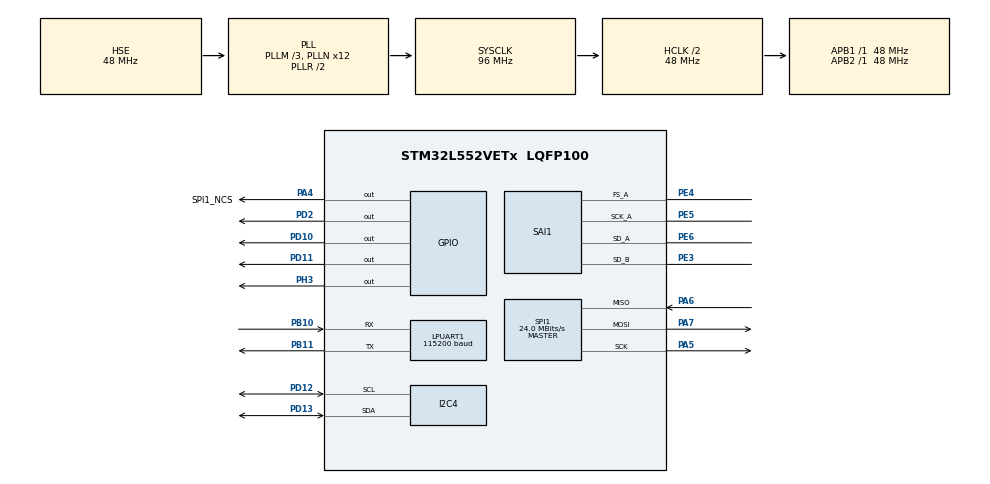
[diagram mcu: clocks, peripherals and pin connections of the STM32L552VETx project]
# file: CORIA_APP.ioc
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Dma.LPUART1_RX.1.Channel_PRIV_NPRIV=DMA_CHANNEL_NPRIV_DISABLE
Dma.LPUART1_RX.1.Direction=DMA_PERIPH_TO_MEMORY
Dma.LPUART1_RX.1.EventEnable=DISABLE
Dma.LPUART1_RX.1.Instance=DMA1_Channel2
Dma.LPUART1_RX.1.MemDataAlignment=DMA_MDATAALIGN_BYTE
Dma.LPUART1_RX.1.MemInc=DMA_MINC_ENABLE
Dma.LPUART1_RX.1.Mode=DMA_NORMAL
Dma.LPUART1_RX.1.PeriphDataAlignment=DMA_PDATAALIGN_BYTE
Dma.LPUART1_RX.1.PeriphInc=DMA_PINC_DISABLE
Dma.LPUART1_RX.1.Polarity=HAL_DMAMUX_REQ_GEN_RISING
Dma.LPUART1_RX.1.Priority=DMA_PRIORITY_MEDIUM
Dma.LPUART1_RX.1.RequestNumber=1
Dma.LPUART1_RX.1.SignalID=NONE
Dma.LPUART1_RX.1.SyncEnable=DISABLE
Dma.LPUART1_RX.1.SyncPolarity=HAL_DMAMUX_SYNC_NO_EVENT
Dma.LPUART1_RX.1.SyncRequestNumber=1
Dma.LPUART1_RX.1.SyncSignalID=NONE
Dma.LPUART1_TX.0.Channel_PRIV_NPRIV=DMA_CHANNEL_NPRIV_DISABLE
Dma.LPUART1_TX.0.Direction=DMA_MEMORY_TO_PERIPH
Dma.LPUART1_TX.0.EventEnable=DISABLE
Dma.LPUART1_TX.0.Instance=DMA1_Channel1
Dma.LPUART1_TX.0.MemDataAlignment=DMA_MDATAALIGN_BYTE
Dma.LPUART1_TX.0.MemInc=DMA_MINC_ENABLE
Dma.LPUART1_TX.0.Mode=DMA_NORMAL
Dma.LPUART1_TX.0.PeriphDataAlignment=DMA_PDATAALIGN_BYTE
Dma.LPUART1_TX.0.PeriphInc=DMA_PINC_DISABLE
Dma.LPUART1_TX.0.Polarity=HAL_DMAMUX_REQ_GEN_RISING
Dma.LPUART1_TX.0.Priority=DMA_PRIORITY_MEDIUM
Dma.LPUART1_TX.0.RequestNumber=1
Dma.LPUART1_TX.0.SignalID=NONE
Dma.LPUART1_TX.0.SyncEnable=DISABLE
Dma.LPUART1_TX.0.SyncPolarity=HAL_DMAMUX_SYNC_NO_EVENT
Dma.LPUART1_TX.0.SyncRequestNumber=1
Dma.LPUART1_TX.0.SyncSignalID=NONE
Dma.Request0=LPUART1_TX
Dma.Request1=LPUART1_RX
Dma.Request2=SAI1_A
Dma.Request3=SAI1_B
Dma.SAI1_A.2.Channel_PRIV_NPRIV=DMA_CHANNEL_NPRIV_DISABLE
Dma.SAI1_A.2.Direction=DMA_MEMORY_TO_PERIPH
Dma.SAI1_A.2.EventEnable=DISABLE
Dma.SAI1_A.2.Instance=DMA1_Channel3
Dma.SAI1_A.2.MemDataAlignment=DMA_MDATAALIGN_HALFWORD
Dma.SAI1_A.2.MemInc=DMA_MINC_ENABLE
Dma.SAI1_A.2.Mode=DMA_CIRCULAR
Dma.SAI1_A.2.PeriphDataAlignment=DMA_PDATAALIGN_HALFWORD
Dma.SAI1_A.2.PeriphInc=DMA_PINC_DISABLE
Dma.SAI1_A.2.Polarity=HAL_DMAMUX_REQ_GEN_RISING
Dma.SAI1_A.2.Priority=DMA_PRIORITY_LOW
Dma.SAI1_A.2.RequestNumber=1
Dma.SAI1_A.2.SignalID=NONE
Dma.SAI1_A.2.SyncEnable=DISABLE
Dma.SAI1_A.2.SyncPolarity=HAL_DMAMUX_SYNC_NO_EVENT
Dma.SAI1_A.2.SyncRequestNumber=1
Dma.SAI1_A.2.SyncSignalID=NONE
Dma.SAI1_B.3.Channel_PRIV_NPRIV=DMA_CHANNEL_NPRIV_DISABLE
Dma.SAI1_B.3.Direction=DMA_PERIPH_TO_MEMORY
Dma.SAI1_B.3.EventEnable=DISABLE
Dma.SAI1_B.3.Instance=DMA1_Channel4
Dma.SAI1_B.3.MemDataAlignment=DMA_MDATAALIGN_HALFWORD
Dma.SAI1_B.3.MemInc=DMA_MINC_ENABLE
Dma.SAI1_B.3.Mode=DMA_CIRCULAR
Dma.SAI1_B.3.PeriphDataAlignment=DMA_PDATAALIGN_HALFWORD
Dma.SAI1_B.3.PeriphInc=DMA_PINC_DISABLE
Dma.SAI1_B.3.Polarity=HAL_DMAMUX_REQ_GEN_RISING
Dma.SAI1_B.3.Priority=DMA_PRIORITY_MEDIUM
Dma.SAI1_B.3.RequestNumber=1
Dma.SAI1_B.3.SignalID=NONE
Dma.SAI1_B.3.SyncEnable=DISABLE
Dma.SAI1_B.3.SyncPolarity=HAL_DMAMUX_SYNC_NO_EVENT
Dma.SAI1_B.3.SyncRequestNumber=1
Dma.SAI1_B.3.SyncSignalID=NONE
I2C4.Timing=0x20303E5D
LPUART1.BaudRate=115200
LPUART1.WordLength=UART_WORDLENGTH_8B
Mcu.Family=STM32L5
Mcu.Name=STM32L552VETx
Mcu.Package=LQFP100
NVIC.DMA1_Channel1_IRQn=true\:0\:0\:false\:false\:true\:false\:true\:true
NVIC.DMA1_Channel2_IRQn=true\:5\:0\:true\:false\:true\:false\:true\:true
NVIC.DMA1_Channel3_IRQn=true\:0\:0\:false\:false\:true\:false\:true\:true
NVIC.DMA1_Channel4_IRQn=true\:0\:0\:false\:false\:true\:false\:true\:true
NVIC.LPUART1_IRQn=true\:5\:0\:true\:false\:true\:true\:true\:true
NVIC.PriorityGroup=NVIC_PRIORITYGROUP_3
NVIC.TIM1_UP_IRQn=true\:7\:0\:false\:false\:true\:false\:true\:true
NVIC.TimeBase=TIM1_UP_IRQn
NVIC.TimeBaseIP=TIM1
PA4.GPIO_Label=SPI1_NCS
PA4.PinState=GPIO_PIN_SET
PA4.Signal=GPIO_Output
PA5.Mode=Full_Duplex_Master
PA5.Signal=SPI1_SCK
PA6.Mode=Full_Duplex_Master
PA6.Signal=SPI1_MISO
PA7.Mode=Full_Duplex_Master
PA7.Signal=SPI1_MOSI
PB10.Mode=Asynchronous
PB10.Signal=LPUART1_RX
PB11.Mode=Asynchronous
PB11.Signal=LPUART1_TX
PC14-OSC32_IN\ (PC14).Mode=LSE-External-Oscillator
PC14-OSC32_IN\ (PC14).Signal=RCC_OSC32_IN
PC15-OSC32_OUT\ (PC15).Mode=LSE-External-Oscillator
PC15-OSC32_OUT\ (PC15).Signal=RCC_OSC32_OUT
PD10.PinState=GPIO_PIN_RESET
PD10.Signal=GPIO_Output
PD11.PinState=GPIO_PIN_RESET
PD11.Signal=GPIO_Output
PD12.Mode=I2C
PD12.Signal=I2C4_SCL
PD13.Mode=I2C
PD13.Signal=I2C4_SDA
PD2.Signal=GPIO_Output
PE3.Mode=SAI_B_SyncSlave
PE3.Signal=SAI1_SD_B
PE4.Mode=SAI_A_Master
PE4.Signal=SAI1_FS_A
PE5.Mode=SAI_A_Master
PE5.Signal=SAI1_SCK_A
PE6.Mode=SAI_A_Master
PE6.Signal=SAI1_SD_A
PH0-OSC_IN\ (PH0).Mode=HSE-External-Oscillator
PH0-OSC_IN\ (PH0).Signal=RCC_OSC_IN
PH1-OSC_OUT\ (PH1).Mode=HSE-External-Oscillator
PH1-OSC_OUT\ (PH1).Signal=RCC_OSC_OUT
PH3-BOOT0.GPIO_PuPd=GPIO_PULLDOWN
PH3-BOOT0.Signal=GPIO_Output
ProjectManager.HeapSize=0x200
ProjectManager.StackSize=0x400
ProjectManager.TargetToolchain=STM32CubeIDE
RCC.ADCFreq_Value=68000000
RCC.AHBCLKDivider=RCC_SYSCLK_DIV2
RCC.AHBFreq_Value=48000000
RCC.APB1Freq_Value=48000000
RCC.APB1TimFreq_Value=48000000
RCC.APB2Freq_Value=48000000
RCC.APB2TimFreq_Value=48000000
RCC.CortexFreq_Value=48000000
RCC.FLatency=FLASH_LATENCY_2
RCC.HCLKFreq_Value=48000000
RCC.HSE_Timout=200
RCC.HSE_VALUE=48000000
RCC.HSI48_VALUE=48000000
RCC.HSI_VALUE=16000000
RCC.MSI_VALUE=4000000
RCC.PLLM=3
RCC.PLLN=12
RCC.PLLSAI1M=6
RCC.PLLSAI1N=17
RCC.PLLSAI1P=RCC_PLLP_DIV17
RCC.PLLSAI1Source=RCC_PLLSAI1SOURCE_HSE
RCC.PLLSAI2Source=RCC_PLLSAI2SOURCE_HSE
RCC.PLLSourceVirtual=RCC_PLLSOURCE_HSE
RCC.SYSCLKFreq_VALUE=96000000
RCC.SYSCLKSource=RCC_SYSCLKSOURCE_PLLCLK
RCC.USBFreq_Value=68000000
RCC.VCOOutputFreq_Value=192000000
RCC.VDD_VALUE=3
SAI1.AudioFrequency-SAI_A_Master=SAI_AUDIO_FREQUENCY_32K
SAI1.BasicDataSize-SAI_A_Master=SAI_PROTOCOL_DATASIZE_16BITEXTENDED
SAI1.BasicDataSize-SAI_B_SyncSlave=SAI_PROTOCOL_DATASIZE_16BITEXTENDED
SAI1.BasicProtocol-SAI_B_SyncSlave=SAI_I2S_STANDARD
SAI1.ErrorAudioFreq-SAI_A_Master=-2.34 %
SAI1.InitProtocol-SAI_A_Master=Enable
SAI1.InitProtocol-SAI_B_SyncSlave=Enable
SAI1.Instance-SAI_A_Master=SAI$Index_Block_A
SAI1.Instance-SAI_B_SyncSlave=SAI$Index_Block_B
SAI1.MckOutput-SAI_A_Master=SAI_MCK_OUTPUT_DISABLE
SAI1.MonoStereoMode-SAI_A_Master=SAI_MONOMODE
SAI1.NoDivider-SAI_A_Master=SAI_MASTERDIVIDER_ENABLE
SAI1.RealAudioFreq-SAI_A_Master=31.25 KHz
SAI1.SynchroExt=SAI_SYNCEXT_OUTBLOCKB_ENABLE
SAI1.TriState-SAI_B_SyncSlave=SAI_OUTPUT_RELEASED
SAI1.VirtualMode-SAI_A_Master=VM_MASTER
SAI1.VirtualMode-SAI_B_SyncSlave=VM_SLAVE
SAI1.VirtualProtocol-SAI_A_BASIC=VM_BASIC_PROTOCOL
SAI1.VirtualProtocol-SAI_B_BASIC=VM_BASIC_PROTOCOL
SPI1.BaudRatePrescaler=SPI_BAUDRATEPRESCALER_2
SPI1.CalculateBaudRate=24.0 MBits/s
SPI1.DataSize=SPI_DATASIZE_8BIT
SPI1.Direction=SPI_DIRECTION_2LINES
SPI1.Mode=SPI_MODE_MASTER
SPI1.VirtualType=VM_MASTER
VP_ICACHE_VS_ICACHE.Mode=DefaultMode
VP_SAI1_VP_$IpInstance_SAIA_SAI_BASIC.Mode=SAI_A_BASIC
VP_SAI1_VP_$IpInstance_SAIB_SAI_BASIC.Mode=SAI_B_BASIC
VP_SAI1_VP_$IpInstance_SYNCHRO_EXTERNAL.Mode=SynchroExternal
VP_SYS_VS_tim1.Mode=TIM1
board=custom

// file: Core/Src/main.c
/* USER CODE BEGIN Header */
/**
  ******************************************************************************
  * @file           : main.c
  * @brief          : Main program body
  ******************************************************************************
  * @attention
  *
  * Copyright (c) 2023 STMicroelectronics.
  * All rights reserved.
  *
  * This software is licensed under terms that can be found in the LICENSE file
  * in the root directory of this software component.
  * If no LICENSE file comes with this software, it is provided AS-IS.
  *
  ******************************************************************************
  */
/* USER CODE END Header */
#include "main.h"

/* USER CODE BEGIN Includes */
#include "stdio.h"
#include <string.h>
#include <stdarg.h>
#include <w25n01gv.h>
#include <lfs.h>

/* USER CODE END Includes */

/* USER CODE BEGIN PD */

#define CLS "\033[2J"
#define HOME "\033[H"

/* USER CODE END PD */

I2C_HandleTypeDef hi2c4;

UART_HandleTypeDef hlpuart1;
DMA_HandleTypeDef hdma_lpuart1_tx;
DMA_HandleTypeDef hdma_lpuart1_rx;

SAI_HandleTypeDef hsai_BlockA1;
SAI_HandleTypeDef hsai_BlockB1;
DMA_HandleTypeDef hdma_sai1_a;
DMA_HandleTypeDef hdma_sai1_b;

SPI_HandleTypeDef hspi1;

/* USER CODE BEGIN PV */
uint16_t i;
uint16_t data[100];
uint16_t data_spi[10];
int32_t data_i2s[100];
volatile int16_t sample_i2s;

uint8_t Buffer[25] = {0};
uint8_t Space[] = " - ";
uint8_t buf[2112];

// WINBOND instructions
uint8_t spi_buf[5];

// lfs
// variables used by the filesystem
lfs_t lfs;
lfs_file_t file, file_max;

// configuration of the filesystem is provided by this struct
const struct lfs_config cfg = {
    // block device operations
    .read  = W25_readLittlefs,
    .prog  = W25_writeLittlefs,
    .erase = W25_eraseLittlefs,
    .sync  = W25_syncLittlefs,

    // block device configuration
    .read_size = 512,
    .prog_size = 512,
    .block_size = W25_PROGRAM_BLOCK_SIZE * W25_SECTOR_COUNT,
    .block_count = W25_SECTOR_COUNT,
    .cache_size = 512,
    .lookahead_size = 512,
    .block_cycles = 1000,
};

/* USER CODE END PV */

void SystemClock_Config(void);
void PeriphCommonClock_Config(void);
static void MX_GPIO_Init(void);
static void MX_DMA_Init(void);
static void MX_ICACHE_Init(void);
static void MX_LPUART1_UART_Init(void);
static void MX_SAI1_Init(void);
static void MX_I2C4_Init(void);
static void MX_SPI1_Init(void);

int main(void)
{

  /* MCU Configuration--------------------------------------------------------*/

  /* Reset of all peripherals, Initializes the Flash interface and the Systick. */
  HAL_Init();

  /* Configure the system clock */
  SystemClock_Config();

/* Configure the peripherals common clocks */
  PeriphCommonClock_Config();

  /* Initialize all configured peripherals */
  MX_GPIO_Init();
  MX_DMA_Init();
  MX_ICACHE_Init();
  MX_LPUART1_UART_Init();
  MX_SAI1_Init();
  MX_I2C4_Init();
  MX_SPI1_Init();
  /* USER CODE BEGIN 2 */

  HAL_GPIO_WritePin(GPIOD, GPIO_PIN_10, GPIO_PIN_SET);
  HAL_GPIO_WritePin(GPIOD, GPIO_PIN_11, GPIO_PIN_SET);
  HAL_Delay(1000);

  debug_print(CLS);
  HAL_Delay(10);
  debug_print(HOME);
  HAL_Delay(10);
  debug_print("\n\rESTAR_CORIA APP vD0.1 \r\n");
  HAL_Delay(100);
  //debug_print("Waiting for PSU Stabilization \r\n");
  HAL_Delay(5000);
  //HAL_UART_Transmit_DMA(&hlpuart1, txBuffer, sizeof(txBuffer));

  HAL_SAI_Transmit_DMA(&hsai_BlockA1, (uint8_t *)data, sizeof(data)/2);
  HAL_SAI_Receive_DMA(&hsai_BlockB1, (uint8_t *)data_i2s, sizeof(data_i2s)/2);

  /*-[ I2C Bus Scanning ]-*/
  debug_print("Starting I2C Scanning: \r\n");
  HAL_Delay(100);
  uint8_t ret;
  for(i=1; i<128; i++)
  {
      ret = HAL_I2C_IsDeviceReady(&hi2c4, (uint16_t)(i<<1), 3, 5);
      if (ret != HAL_OK) /* No ACK Received At That Address */
      {}
      else if(ret == HAL_OK)
      {
          debug_print("0x%X \r\n", i);
          HAL_Delay(100);
      }
  }
  /*--[ Scanning Done ]--*/
  /*--[ SPI Mem  Scanning ]--*/

  debug_print("Starting SPI Scanning: \r\n");
  HAL_Delay(100);
  uint8_t buf3[3];
  W25_ReadJedecID(buf3, sizeof(buf3));
  debug_print("Jedec ID: 0x%02X 0x%02X 0x%02X\n\r",buf3[0],buf3[1],buf3[2]);
  HAL_Delay(1000);

  // MAKE SURE WE CAN WRITE ALL MEMORY FIRST
  W25_WriteStatusReg(0xA0, 0b00000000);
  HAL_Delay(100);

  //erase whole memory

  /*for (uint16_t i = 0; i <= 1024; i++) {
  	  W25_SectorErase(i);
  	  HAL_Delay(5);
  }
  HAL_Delay(100);
  debug_print("\n\r Erased Memory-- \n\r");*/

  // mount the filesystem
  int err = lfs_mount(&lfs, &cfg);
  debug_print("err: %d\n\r", err);
  HAL_Delay(5);

  // reformat if we can't mount the filesystem
  // this should only happen on the first boot
  /*if (err) {
	  err = lfs_format(&lfs, &cfg);
      debug_print("err: %d\n\r", err);
      err = lfs_mount(&lfs, &cfg);
      debug_print("err: %d\n\r", err);
  }*/

  if (err == 0) {
	  // read current count
	  uint32_t boot_count = 0;
	  lfs_file_open(&lfs, &file, "boot_count", LFS_O_RDWR | LFS_O_CREAT);
	  lfs_file_read(&lfs, &file, &boot_count, sizeof(boot_count));

	  // update boot count
	  boot_count += 1;
	  lfs_file_rewind(&lfs, &file);
	  lfs_file_write(&lfs, &file, &boot_count, sizeof(boot_count));

	  // remember the storage is not updated until the file is closed successfully
	  lfs_file_close(&lfs, &file);

	  uint32_t max_count = 0;
	  lfs_file_open(&lfs, &file_max, "max_count", LFS_O_RDWR | LFS_O_CREAT);
	  lfs_file_read(&lfs, &file_max, &max_count, sizeof(max_count));
	  lfs_file_close(&lfs, &file_max);

	  // release any resources we were using
	  lfs_unmount(&lfs);

	  // print the boot count
	  debug_print("boot_count: %d\n\r", boot_count);
	  HAL_Delay(1);
	  debug_print("max_count: %d\n\r", max_count);
	  HAL_Delay(1);
  }

	/*REConfigure GPIO pin : SPI1 SS */
	GPIO_InitTypeDef GPIO_InitStructSPISS = {0};
	GPIO_InitStructSPISS.Pin = GPIO_PIN_4;
	GPIO_InitStructSPISS.Mode = GPIO_MODE_INPUT;
	GPIO_InitStructSPISS.Pull = GPIO_NOPULL;
	GPIO_InitStructSPISS.Speed = GPIO_SPEED_FREQ_LOW;
	HAL_GPIO_Init(GPIOA, &GPIO_InitStructSPISS);
	/*REConfigure GPIO pin : SPI1 SCK */
	GPIO_InitTypeDef GPIO_InitStructSPISCK = {0};
	GPIO_InitStructSPISCK.Pin = GPIO_PIN_5;
	GPIO_InitStructSPISCK.Mode = GPIO_MODE_INPUT;
	GPIO_InitStructSPISCK.Pull = GPIO_NOPULL;
	GPIO_InitStructSPISCK.Speed = GPIO_SPEED_FREQ_LOW;
	HAL_GPIO_Init(GPIOA, &GPIO_InitStructSPISCK);
	/*REConfigure GPIO pin : SPI1 MISO */
	GPIO_InitTypeDef GPIO_InitStructSPIMISO = {0};
	GPIO_InitStructSPIMISO.Pin = GPIO_PIN_6;
	GPIO_InitStructSPIMISO.Mode = GPIO_MODE_INPUT;
	GPIO_InitStructSPIMISO.Pull = GPIO_NOPULL;
	GPIO_InitStructSPIMISO.Speed = GPIO_SPEED_FREQ_LOW;
	HAL_GPIO_Init(GPIOA, &GPIO_InitStructSPIMISO);
	/*REConfigure GPIO pin : SPI1 MOSI */
	GPIO_InitTypeDef GPIO_InitStructSPIMOSI = {0};
	GPIO_InitStructSPIMOSI.Pin = GPIO_PIN_7;
	GPIO_InitStructSPIMOSI.Mode = GPIO_MODE_INPUT;
	GPIO_InitStructSPIMOSI.Pull = GPIO_NOPULL;
	GPIO_InitStructSPIMOSI.Speed = GPIO_SPEED_FREQ_LOW;
	HAL_GPIO_Init(GPIOA, &GPIO_InitStructSPIMOSI);

  /* USER CODE END 2 */

  /* Infinite loop */
  /* USER CODE BEGIN WHILE */
  while (1)
  {
	//debug_print("%d\r\n", sample_i2s);
	HAL_GPIO_TogglePin(GPIOD, GPIO_PIN_2);
	HAL_Delay(1000);
    /* USER CODE END WHILE */

  }
}

void SystemClock_Config(void)
{
  RCC_OscInitTypeDef RCC_OscInitStruct = {0};
  RCC_ClkInitTypeDef RCC_ClkInitStruct = {0};

  /** Configure the main internal regulator output voltage
  */
  if (HAL_PWREx_ControlVoltageScaling(PWR_REGULATOR_VOLTAGE_SCALE1) != HAL_OK)
  {
    Error_Handler();
  }

  /** Initializes the RCC Oscillators according to the specified parameters
  * in the RCC_OscInitTypeDef structure.
  */
  RCC_OscInitStruct.OscillatorType = RCC_OSCILLATORTYPE_HSE;
  RCC_OscInitStruct.HSEState = RCC_HSE_ON;
  RCC_OscInitStruct.PLL.PLLState = RCC_PLL_ON;
  RCC_OscInitStruct.PLL.PLLSource = RCC_PLLSOURCE_HSE;
  RCC_OscInitStruct.PLL.PLLM = 3;
  RCC_OscInitStruct.PLL.PLLN = 12;
  RCC_OscInitStruct.PLL.PLLP = RCC_PLLP_DIV7;
  RCC_OscInitStruct.PLL.PLLQ = RCC_PLLQ_DIV2;
  RCC_OscInitStruct.PLL.PLLR = RCC_PLLR_DIV2;
  if (HAL_RCC_OscConfig(&RCC_OscInitStruct) != HAL_OK)
  {
    Error_Handler();
  }

  /** Initializes the CPU, AHB and APB buses clocks
  */
  RCC_ClkInitStruct.ClockType = RCC_CLOCKTYPE_HCLK|RCC_CLOCKTYPE_SYSCLK
                              |RCC_CLOCKTYPE_PCLK1|RCC_CLOCKTYPE_PCLK2;
  RCC_ClkInitStruct.SYSCLKSource = RCC_SYSCLKSOURCE_PLLCLK;
  RCC_ClkInitStruct.AHBCLKDivider = RCC_SYSCLK_DIV2;
  RCC_ClkInitStruct.APB1CLKDivider = RCC_HCLK_DIV1;
  RCC_ClkInitStruct.APB2CLKDivider = RCC_HCLK_DIV1;

  if (HAL_RCC_ClockConfig(&RCC_ClkInitStruct, FLASH_LATENCY_2) != HAL_OK)
  {
    Error_Handler();
  }
}

void PeriphCommonClock_Config(void)
{
  RCC_PeriphCLKInitTypeDef PeriphClkInit = {0};

  /** Initializes the common periph clock
  */
  PeriphClkInit.PeriphClockSelection = RCC_PERIPHCLK_SAI1;
  PeriphClkInit.Sai1ClockSelection = RCC_SAI1CLKSOURCE_PLLSAI1;
  PeriphClkInit.PLLSAI1.PLLSAI1Source = RCC_PLLSAI1SOURCE_HSE;
  PeriphClkInit.PLLSAI1.PLLSAI1M = 6;
  PeriphClkInit.PLLSAI1.PLLSAI1N = 17;
  PeriphClkInit.PLLSAI1.PLLSAI1P = RCC_PLLP_DIV17;
  PeriphClkInit.PLLSAI1.PLLSAI1Q = RCC_PLLQ_DIV2;
  PeriphClkInit.PLLSAI1.PLLSAI1R = RCC_PLLR_DIV2;
  PeriphClkInit.PLLSAI1.PLLSAI1ClockOut = RCC_PLLSAI1_SAI1CLK;
  if (HAL_RCCEx_PeriphCLKConfig(&PeriphClkInit) != HAL_OK)
  {
    Error_Handler();
  }
}

static void MX_I2C4_Init(void)
{

  hi2c4.Instance = I2C4;
  hi2c4.Init.Timing = 0x20303E5D;
  hi2c4.Init.OwnAddress1 = 0;
  hi2c4.Init.AddressingMode = I2C_ADDRESSINGMODE_7BIT;
  hi2c4.Init.DualAddressMode = I2C_DUALADDRESS_DISABLE;
  hi2c4.Init.OwnAddress2 = 0;
  hi2c4.Init.OwnAddress2Masks = I2C_OA2_NOMASK;
  hi2c4.Init.GeneralCallMode = I2C_GENERALCALL_DISABLE;
  hi2c4.Init.NoStretchMode = I2C_NOSTRETCH_DISABLE;
  if (HAL_I2C_Init(&hi2c4) != HAL_OK)
  {
    Error_Handler();
  }

  /** Configure Analogue filter
  */
  if (HAL_I2CEx_ConfigAnalogFilter(&hi2c4, I2C_ANALOGFILTER_ENABLE) != HAL_OK)
  {
    Error_Handler();
  }

  /** Configure Digital filter
  */
  if (HAL_I2CEx_ConfigDigitalFilter(&hi2c4, 0) != HAL_OK)
  {
    Error_Handler();
  }

}

static void MX_ICACHE_Init(void)
{

  /** Enable instruction cache (default 2-ways set associative cache)
  */
  if (HAL_ICACHE_Enable() != HAL_OK)
  {
    Error_Handler();
  }

}

static void MX_LPUART1_UART_Init(void)
{

  hlpuart1.Instance = LPUART1;
  hlpuart1.Init.BaudRate = 115200;
  hlpuart1.Init.WordLength = UART_WORDLENGTH_8B;
  hlpuart1.Init.StopBits = UART_STOPBITS_1;
  hlpuart1.Init.Parity = UART_PARITY_NONE;
  hlpuart1.Init.Mode = UART_MODE_TX_RX;
  hlpuart1.Init.HwFlowCtl = UART_HWCONTROL_NONE;
  hlpuart1.Init.OneBitSampling = UART_ONE_BIT_SAMPLE_DISABLE;
  hlpuart1.Init.ClockPrescaler = UART_PRESCALER_DIV1;
  hlpuart1.AdvancedInit.AdvFeatureInit = UART_ADVFEATURE_NO_INIT;
  hlpuart1.FifoMode = UART_FIFOMODE_DISABLE;
  if (HAL_UART_Init(&hlpuart1) != HAL_OK)
  {
    Error_Handler();
  }
  if (HAL_UARTEx_SetTxFifoThreshold(&hlpuart1, UART_TXFIFO_THRESHOLD_1_8) != HAL_OK)
  {
    Error_Handler();
  }
  if (HAL_UARTEx_SetRxFifoThreshold(&hlpuart1, UART_RXFIFO_THRESHOLD_1_8) != HAL_OK)
  {
    Error_Handler();
  }
  if (HAL_UARTEx_DisableFifoMode(&hlpuart1) != HAL_OK)
  {
    Error_Handler();
  }

}

static void MX_SAI1_Init(void)
{

  hsai_BlockA1.Instance = SAI1_Block_A;
  hsai_BlockA1.Init.AudioMode = SAI_MODEMASTER_TX;
  hsai_BlockA1.Init.Synchro = SAI_ASYNCHRONOUS;
  hsai_BlockA1.Init.OutputDrive = SAI_OUTPUTDRIVE_DISABLE;
  hsai_BlockA1.Init.NoDivider = SAI_MASTERDIVIDER_ENABLE;
  hsai_BlockA1.Init.FIFOThreshold = SAI_FIFOTHRESHOLD_EMPTY;
  hsai_BlockA1.Init.AudioFrequency = SAI_AUDIO_FREQUENCY_32K;
  hsai_BlockA1.Init.SynchroExt = SAI_SYNCEXT_OUTBLOCKB_ENABLE;
  hsai_BlockA1.Init.MonoStereoMode = SAI_MONOMODE;
  hsai_BlockA1.Init.CompandingMode = SAI_NOCOMPANDING;
  hsai_BlockA1.Init.TriState = SAI_OUTPUT_NOTRELEASED;
  if (HAL_SAI_InitProtocol(&hsai_BlockA1, SAI_I2S_STANDARD, SAI_PROTOCOL_DATASIZE_16BITEXTENDED, 2) != HAL_OK)
  {
    Error_Handler();
  }
  hsai_BlockB1.Instance = SAI1_Block_B;
  hsai_BlockB1.Init.AudioMode = SAI_MODESLAVE_RX;
  hsai_BlockB1.Init.Synchro = SAI_SYNCHRONOUS;
  hsai_BlockB1.Init.OutputDrive = SAI_OUTPUTDRIVE_DISABLE;
  hsai_BlockB1.Init.FIFOThreshold = SAI_FIFOTHRESHOLD_EMPTY;
  hsai_BlockB1.Init.SynchroExt = SAI_SYNCEXT_OUTBLOCKB_ENABLE;
  hsai_BlockB1.Init.MonoStereoMode = SAI_STEREOMODE;
  hsai_BlockB1.Init.CompandingMode = SAI_NOCOMPANDING;
  hsai_BlockB1.Init.TriState = SAI_OUTPUT_RELEASED;
  if (HAL_SAI_InitProtocol(&hsai_BlockB1, SAI_I2S_STANDARD, SAI_PROTOCOL_DATASIZE_16BITEXTENDED, 2) != HAL_OK)
  {
    Error_Handler();
  }

}

static void MX_SPI1_Init(void)
{

  /* SPI1 parameter configuration*/
  hspi1.Instance = SPI1;
  hspi1.Init.Mode = SPI_MODE_MASTER;
  hspi1.Init.Direction = SPI_DIRECTION_2LINES;
  hspi1.Init.DataSize = SPI_DATASIZE_8BIT;
  hspi1.Init.CLKPolarity = SPI_POLARITY_LOW;
  hspi1.Init.CLKPhase = SPI_PHASE_1EDGE;
  hspi1.Init.NSS = SPI_NSS_SOFT;
  hspi1.Init.BaudRatePrescaler = SPI_BAUDRATEPRESCALER_2;
  hspi1.Init.FirstBit = SPI_FIRSTBIT_MSB;
  hspi1.Init.TIMode = SPI_TIMODE_DISABLE;
  hspi1.Init.CRCCalculation = SPI_CRCCALCULATION_DISABLE;
  hspi1.Init.CRCPolynomial = 7;
  hspi1.Init.CRCLength = SPI_CRC_LENGTH_DATASIZE;
  hspi1.Init.NSSPMode = SPI_NSS_PULSE_ENABLE;
  if (HAL_SPI_Init(&hspi1) != HAL_OK)
  {
    Error_Handler();
  }

}

static void MX_DMA_Init(void)
{

  /* DMA controller clock enable */
  __HAL_RCC_DMAMUX1_CLK_ENABLE();
  __HAL_RCC_DMA1_CLK_ENABLE();

  /* DMA interrupt init */
  /* DMA1_Channel1_IRQn interrupt configuration */
  HAL_NVIC_SetPriority(DMA1_Channel1_IRQn, 0, 0);
  HAL_NVIC_EnableIRQ(DMA1_Channel1_IRQn);
  /* DMA1_Channel2_IRQn interrupt configuration */
  HAL_NVIC_SetPriority(DMA1_Channel2_IRQn, 5, 0);
  HAL_NVIC_EnableIRQ(DMA1_Channel2_IRQn);
  /* DMA1_Channel3_IRQn interrupt configuration */
  HAL_NVIC_SetPriority(DMA1_Channel3_IRQn, 0, 0);
  HAL_NVIC_EnableIRQ(DMA1_Channel3_IRQn);
  /* DMA1_Channel4_IRQn interrupt configuration */
  HAL_NVIC_SetPriority(DMA1_Channel4_IRQn, 0, 0);
  HAL_NVIC_EnableIRQ(DMA1_Channel4_IRQn);

}

static void MX_GPIO_Init(void)
{
  GPIO_InitTypeDef GPIO_InitStruct = {0};

  /* GPIO Ports Clock Enable */
  __HAL_RCC_GPIOE_CLK_ENABLE();
  __HAL_RCC_GPIOC_CLK_ENABLE();
  __HAL_RCC_GPIOH_CLK_ENABLE();
  __HAL_RCC_GPIOA_CLK_ENABLE();
  __HAL_RCC_GPIOB_CLK_ENABLE();
  __HAL_RCC_GPIOD_CLK_ENABLE();

  /*Configure GPIO pin Output Level */
  HAL_GPIO_WritePin(SPI1_NCS_GPIO_Port, SPI1_NCS_Pin, GPIO_PIN_SET);

  /*Configure GPIO pin Output Level */
  HAL_GPIO_WritePin(GPIOD, GPIO_PIN_10|GPIO_PIN_11|GPIO_PIN_2, GPIO_PIN_RESET);

  /*Configure GPIO pin Output Level */
  HAL_GPIO_WritePin(GPIOH, GPIO_PIN_3, GPIO_PIN_RESET);

  /*Configure GPIO pin : SPI1_NCS_Pin */
  GPIO_InitStruct.Pin = SPI1_NCS_Pin;
  GPIO_InitStruct.Mode = GPIO_MODE_OUTPUT_PP;
  GPIO_InitStruct.Pull = GPIO_NOPULL;
  GPIO_InitStruct.Speed = GPIO_SPEED_FREQ_LOW;
  HAL_GPIO_Init(SPI1_NCS_GPIO_Port, &GPIO_InitStruct);

  /*Configure GPIO pins : PD10 PD11 PD2 */
  GPIO_InitStruct.Pin = GPIO_PIN_10|GPIO_PIN_11|GPIO_PIN_2;
  GPIO_InitStruct.Mode = GPIO_MODE_OUTPUT_PP;
  GPIO_InitStruct.Pull = GPIO_NOPULL;
  GPIO_InitStruct.Speed = GPIO_SPEED_FREQ_LOW;
  HAL_GPIO_Init(GPIOD, &GPIO_InitStruct);

  /*Configure GPIO pin : PH3 */
  GPIO_InitStruct.Pin = GPIO_PIN_3;
  GPIO_InitStruct.Mode = GPIO_MODE_OUTPUT_PP;
  GPIO_InitStruct.Pull = GPIO_PULLDOWN;
  GPIO_InitStruct.Speed = GPIO_SPEED_FREQ_LOW;
  HAL_GPIO_Init(GPIOH, &GPIO_InitStruct);

}

/* USER CODE BEGIN 4 */
uint8_t debug_tx_buffer[100];

void debug_print(char *fmt, ...){
	va_list args;

	va_start(args, fmt);
	vsprintf((char *)debug_tx_buffer, fmt, args);
	va_end(args);

	HAL_UART_Transmit_DMA(&hlpuart1, debug_tx_buffer, strlen((const char *)debug_tx_buffer));
	HAL_Delay(1);
}

void HAL_SAI_RxCpltCallback(SAI_HandleTypeDef *hsai)
{
		sample_i2s = (data_i2s[0] + 1650);
}

/* USER CODE END 4 */

void HAL_TIM_PeriodElapsedCallback(TIM_HandleTypeDef *htim)
{
  if (htim->Instance == TIM1) {
    HAL_IncTick();
  }
}

void Error_Handler(void)
{
  __disable_irq();
  while (1)
  {
  }
}
